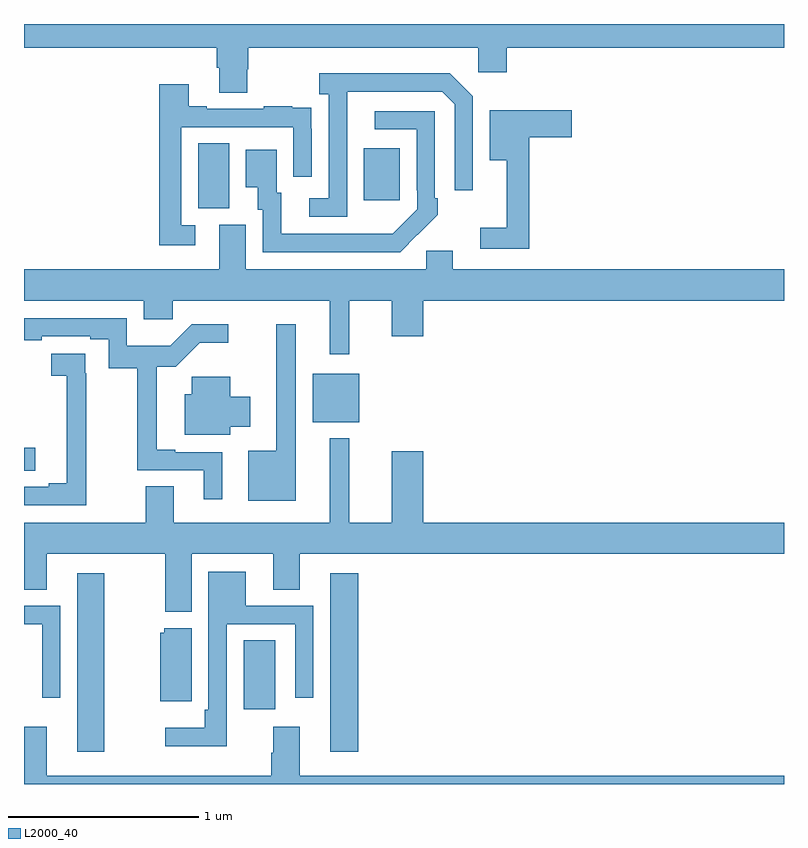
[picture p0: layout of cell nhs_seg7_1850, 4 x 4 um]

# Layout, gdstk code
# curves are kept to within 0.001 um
import gdstk
lib = gdstk.Library(unit=1e-6, precision=1e-09)
def R(c, l, rs):  # rectangles x0, y0, x1, y1
    for r in rs: c.add(gdstk.rectangle(r[:2], r[2:], *l))
def P(c, l, *ps):  # polygons
    for p in ps: c.add(gdstk.Polygon(p, *l))
L2000_40 = (2000, 40)

nhs_seg7_1850 = lib.new_cell('nhs_seg7_1850')
R(nhs_seg7_1850, L2000_40, [(235.28,1070.169,235.422,1071.109), (236.612,1070.169,236.759,1071.109), (236.156,1070.394,236.323,1070.756), (235,1071.649,235.06,1071.769), (236.519,1071.905,236.764,1072.159), (235.916,1073.029,236.08,1073.372), (236.789,1073.073,236.977,1073.347)])
P(nhs_seg7_1850, L2000_40, [(236.175,1073.763),(236.18,1073.763),(236.18,1073.876),(237.39,1073.876),(237.39,1073.745),(237.542,1073.745),(237.542,1073.876),(239,1073.876),(239,1074),(235,1074),(235,1073.876),(236.015,1073.876),(236.015,1073.77),(236.027,1073.77),(236.027,1073.638),(236.175,1073.638)],
  [(236.7,1073.443),(236.701,1073.643),(237.201,1073.643),(237.267,1073.577),(237.267,1073.124),(237.363,1073.124),(237.363,1073.619),(237.242,1073.74),(236.553,1073.74),(236.553,1073.63),(236.604,1073.63),(236.604,1073.082),(236.502,1073.082),(236.502,1072.986),(236.7,1072.986)],
  [(235.9,1072.941),(235.827,1072.941),(235.827,1073.457),(236.418,1073.457),(236.418,1073.196),(236.514,1073.196),(236.514,1073.45),(236.513,1073.45),(236.513,1073.559),(236.411,1073.559),(236.411,1073.566),(236.263,1073.566),(236.263,1073.553),(235.963,1073.553),(235.963,1073.566),(235.867,1073.566),(235.867,1073.683),(235.711,1073.683),(235.711,1072.836),(235.9,1072.836)],
  [(237.659,1073.405),(237.883,1073.405),(237.883,1073.547),(237.452,1073.547),(237.452,1073.282),(237.542,1073.282),(237.542,1072.927),(237.402,1072.927),(237.402,1072.818),(237.659,1072.818)],
  [(237.071,1072.891),(237.072,1072.89),(237.177,1072.995),(237.177,1073.083),(237.162,1073.083),(237.162,1073.541),(236.847,1073.541),(236.847,1073.445),(237.066,1073.445),(237.066,1073.125),(237.069,1073.125),(237.069,1073.025),(236.941,1072.897),(236.353,1072.896),(236.353,1073.112),(236.329,1073.112),(236.329,1073.338),(236.168,1073.338),(236.168,1073.141),(236.231,1073.141),(236.231,1073.022),(236.256,1073.022),(236.256,1072.8),(236.98,1072.8)],
  [(236.713,1072.544),(236.936,1072.544),(236.936,1072.356),(237.1,1072.356),(237.1,1072.544),(239,1072.544),(239,1072.708),(237.256,1072.708),(237.256,1072.806),(237.117,1072.806),(237.117,1072.708),(236.167,1072.708),(236.167,1072.944),(236.027,1072.944),(236.027,1072.708),(235,1072.708),(235,1072.544),(235.631,1072.544),(235.631,1072.446),(235.783,1072.446),(235.783,1072.544),(236.609,1072.544),(236.609,1072.263),(236.713,1072.263)],
  [(236.044,1071.747),(235.795,1071.747),(235.795,1071.76),(235.699,1071.76),(235.699,1072.197),(235.799,1072.197),(235.925,1072.322),(236.074,1072.322),(236.074,1072.419),(235.884,1072.419),(235.771,1072.306),(235.542,1072.306),(235.542,1072.452),(235,1072.452),(235,1072.336),(235.093,1072.336),(235.093,1072.356),(235.349,1072.356),(235.349,1072.342),(235.446,1072.342),(235.446,1072.189),(235.597,1072.189),(235.597,1071.651),(235.946,1071.651),(235.946,1071.498),(236.044,1071.498)],
  [(236.431,1072.42),(236.327,1072.42),(236.327,1071.754),(236.18,1071.754),(236.18,1071.491),(236.431,1071.491)],
  [(235.328,1072.163),(235.322,1072.163),(235.322,1072.265),(235.143,1072.265),(235.143,1072.15),(235.225,1072.15),(235.225,1071.867),(235.226,1071.867),(235.226,1071.584),(235.13,1071.584),(235.13,1071.564),(235,1071.564),(235,1071.468),(235.328,1071.468)],
  [(236.086,1071.881),(236.191,1071.881),(236.191,1072.039),(236.086,1072.039),(236.086,1072.144),(235.883,1072.144),(235.883,1072.052),(235.847,1072.052),(235.847,1071.839),(236.086,1071.839)],
  [(235.882,1071.212),(236.312,1071.212),(236.312,1071.022),(236.452,1071.022),(236.452,1071.212),(239,1071.212),(239,1071.376),(237.1,1071.376),(237.1,1071.751),(236.936,1071.751),(236.936,1071.376),(236.713,1071.376),(236.713,1071.82),(236.609,1071.82),(236.609,1071.376),(235.789,1071.376),(235.789,1071.566),(235.642,1071.566),(235.642,1071.376),(235,1071.376),(235,1071.022),(235.12,1071.022),(235.12,1071.212),(235.744,1071.212),(235.744,1070.906),(235.882,1070.906)],
  [(236.067,1070.841),(236.427,1070.841),(236.427,1070.454),(236.523,1070.454),(236.523,1070.937),(236.167,1070.937),(236.167,1071.118),(235.971,1071.118),(235.971,1070.392),(235.951,1070.392),(235.951,1070.296),(235.743,1070.296),(235.743,1070.198),(236.067,1070.198)],
  [(235.191,1070.937),(235,1070.937),(235,1070.841),(235.095,1070.841),(235.095,1070.454),(235.191,1070.454)],
  [(235.882,1070.821),(235.737,1070.821),(235.737,1070.796),(235.718,1070.796),(235.718,1070.435),(235.882,1070.435)],
  [(239,1070.044),(236.452,1070.044),(236.452,1070.302),(236.312,1070.302),(236.312,1070.165),(236.3,1070.165),(236.3,1070.044),(235.12,1070.044),(235.12,1070.302),(235,1070.302),(235,1070),(239,1070)])

lib.write_gds('nhs_seg7_1850.gds')
